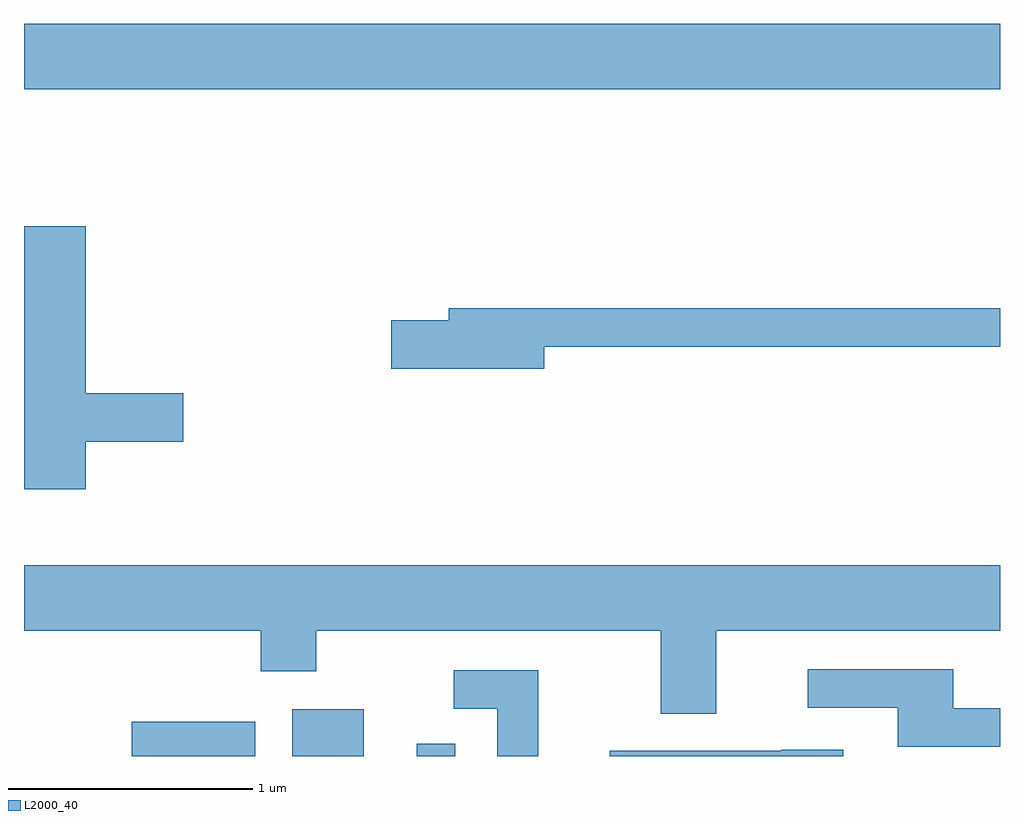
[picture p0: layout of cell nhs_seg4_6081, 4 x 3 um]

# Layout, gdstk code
import gdstk
lib = gdstk.Library(unit=1e-6, precision=1e-09)
def R(c, l, rs):  # rectangles x0, y0, x1, y1
    for r in rs: c.add(gdstk.rectangle(r[:2], r[2:], *l))
def P(c, l, *ps):  # polygons
    for p in ps: c.add(gdstk.Polygon(p, *l))
L2000_40 = (2000, 40)

nhs_seg4_6081 = lib.new_cell('nhs_seg4_6081')
R(nhs_seg4_6081, L2000_40, [(364.053,1311.982,364.559,1312.124), (364.711,1311.982,365.004,1312.174), (365.221,1311.982,365.379,1312.033), (363.611,1314.716,367.611,1314.984)])
P(nhs_seg4_6081, L2000_40, [(363.864,1313.271),(364.264,1313.271),(364.264,1313.469),(363.864,1313.469),(363.864,1314.154),(363.611,1314.154),(363.611,1313.076),(363.864,1313.076)],
  [(365.744,1313.661),(367.611,1313.661),(367.611,1313.819),(365.351,1313.819),(365.351,1313.769),(365.116,1313.769),(365.116,1313.571),(365.744,1313.571)],
  [(366.449,1312.496),(367.611,1312.496),(367.611,1312.764),(363.611,1312.764),(363.611,1312.496),(364.581,1312.496),(364.581,1312.331),(364.809,1312.331),(364.809,1312.496),(366.221,1312.496),(366.221,1312.156),(366.449,1312.156)],
  [(367.611,1312.179),(367.419,1312.179),(367.419,1312.339),(366.823,1312.339),(366.823,1312.181),(367.191,1312.181),(367.191,1312.021),(367.611,1312.021)],
  [(365.719,1312.334),(365.373,1312.334),(365.373,1312.176),(365.551,1312.176),(365.551,1311.982),(365.719,1311.982)],
  [(366.969,1312.009),(366.715,1312.009),(366.715,1312.004),(366.011,1312.004),(366.011,1311.982),(366.969,1311.982)])

lib.write_gds('nhs_seg4_6081.gds')
